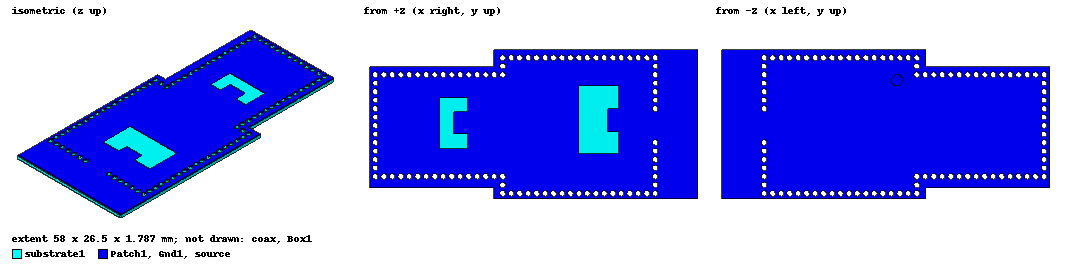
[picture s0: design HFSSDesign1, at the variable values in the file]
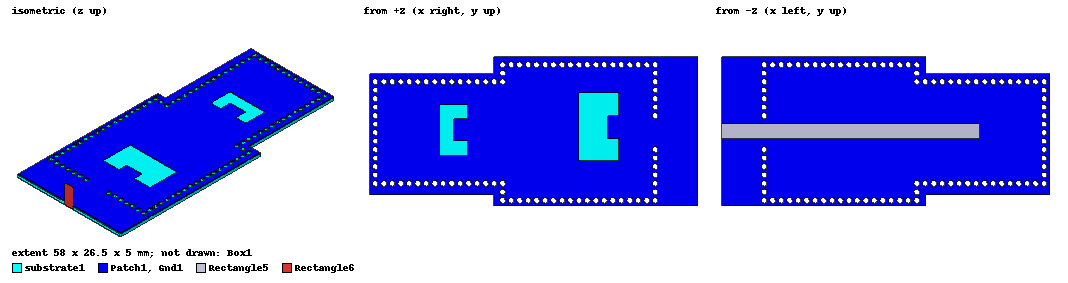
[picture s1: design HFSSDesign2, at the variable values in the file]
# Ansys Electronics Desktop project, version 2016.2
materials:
  vacuum: permittivity=1
  Rogers RT/duroid 5880 (tm): permittivity=2.2 dielectric_loss_tangent=0.0009
  pec: conductivity=1e+030

design HFSSDesign1 (HFSS, DrivenTerminal, model units mm)
options: Allow_Material_Override
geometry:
  substrate1 [Rogers RT/duroid 5880 (tm)] = box(corner=(0mm, 2mm, 0mm), size=(22mm, 21.5mm, 0.787mm))
  Patch1 [Rogers RT/duroid 5880 (tm)] = rectangle(corner=(0mm, 2mm, 0.787mm), x_size=22mm, y_size=21.5mm)
  Gnd1 [Rogers RT/duroid 5880 (tm)] = rectangle(corner=(0mm, 2mm, 0mm), x_size=22mm, y_size=21.5mm)
  substrate2 = box(corner=(22mm, 0mm, 0mm), size=(36mm, 26.5mm, 0.787mm))
  Gnd2 = rectangle(corner=(22mm, 0mm, 0mm), x_size=36mm, y_size=26.5mm)
  substrate1.unite(substrate2)
  Gnd1.unite(Gnd2)
  Patch2 = rectangle(corner=(22mm, 0mm, 0.787mm), x_size=36mm, y_size=26.5mm)
  Patch1.unite(Patch2)
  via1 = cylinder(axis=Z, base_centre=(23.5mm, 1mm, 0mm), radius=0.5mm, height=0.787mm)
  via2 = cylinder(axis=Z, base_centre=(23.5mm, 2.5mm, 0mm), radius=0.5mm, height=0.787mm)
  via3 = cylinder(axis=Z, base_centre=(23.5mm, 4mm, 0mm), radius=0.5mm, height=0.787mm)
  via4 = cylinder(axis=Z, base_centre=(22mm, 4mm, 0mm), radius=0.5mm, height=0.787mm)
  via5 = cylinder(axis=Z, base_centre=(20.5mm, 4mm, 0mm), radius=0.5mm, height=0.787mm)
  via6 = cylinder(axis=Z, base_centre=(19mm, 4mm, 0mm), radius=0.5mm, height=0.787mm)
  via7 = cylinder(axis=Z, base_centre=(17.5mm, 4mm, 0mm), radius=0.5mm, height=0.787mm)
  via8 = cylinder(axis=Z, base_centre=(16mm, 4mm, 0mm), radius=0.5mm, height=0.787mm)
  via9 = cylinder(axis=Z, base_centre=(14.5mm, 4mm, 0mm), radius=0.5mm, height=0.787mm)
  via10 = cylinder(axis=Z, base_centre=(13mm, 4mm, 0mm), radius=0.5mm, height=0.787mm)
  via11 = cylinder(axis=Z, base_centre=(11.5mm, 4mm, 0mm), radius=0.5mm, height=0.787mm)
  via12 = cylinder(axis=Z, base_centre=(10mm, 4mm, 0mm), radius=0.5mm, height=0.787mm)
  via13 = cylinder(axis=Z, base_centre=(8.5mm, 4mm, 0mm), radius=0.5mm, height=0.787mm)
  via14 = cylinder(axis=Z, base_centre=(7mm, 4mm, 0mm), radius=0.5mm, height=0.787mm)
  via15 = cylinder(axis=Z, base_centre=(5.5mm, 4mm, 0mm), radius=0.5mm, height=0.787mm)
  via16 = cylinder(axis=Z, base_centre=(4mm, 4mm, 0mm), radius=0.5mm, height=0.787mm)
  via17 = cylinder(axis=Z, base_centre=(2.5mm, 4mm, 0mm), radius=0.5mm, height=0.787mm)
  via18 = cylinder(axis=Z, base_centre=(1mm, 4mm, 0mm), radius=0.5mm, height=0.787mm)
  via19 = cylinder(axis=Z, base_centre=(1mm, 5.5mm, 0mm), radius=0.5mm, height=0.787mm)
  via20 = cylinder(axis=Z, base_centre=(1mm, 7mm, 0mm), radius=0.5mm, height=0.787mm)
  via21 = cylinder(axis=Z, base_centre=(1mm, 8.5mm, 0mm), radius=0.5mm, height=0.787mm)
  via22 = cylinder(axis=Z, base_centre=(1mm, 10mm, 0mm), radius=0.5mm, height=0.787mm)
  via23 = cylinder(axis=Z, base_centre=(1mm, 11.5mm, 0mm), radius=0.5mm, height=0.787mm)
  via24 = cylinder(axis=Z, base_centre=(1mm, 13mm, 0mm), radius=0.5mm, height=0.787mm)
  via25 = cylinder(axis=Z, base_centre=(1mm, 14.5mm, 0mm), radius=0.5mm, height=0.787mm)
  via26 = cylinder(axis=Z, base_centre=(1mm, 16mm, 0mm), radius=0.5mm, height=0.787mm)
  via27 = cylinder(axis=Z, base_centre=(1mm, 17.5mm, 0mm), radius=0.5mm, height=0.787mm)
  via28 = cylinder(axis=Z, base_centre=(1mm, 19mm, 0mm), radius=0.5mm, height=0.787mm)
  via29 = cylinder(axis=Z, base_centre=(1mm, 20.5mm, 0mm), radius=0.5mm, height=0.787mm)
  via30 = cylinder(axis=Z, base_centre=(1mm, 22mm, 0mm), radius=0.5mm, height=0.787mm)
  via31 = cylinder(axis=Z, base_centre=(2.5mm, 22mm, 0mm), radius=0.5mm, height=0.787mm)
  via32 = cylinder(axis=Z, base_centre=(4mm, 22mm, 0mm), radius=0.5mm, height=0.787mm)
  via33 = cylinder(axis=Z, base_centre=(5.5mm, 22mm, 0mm), radius=0.5mm, height=0.787mm)
  via34 = cylinder(axis=Z, base_centre=(7mm, 22mm, 0mm), radius=0.5mm, height=0.787mm)
  via35 = cylinder(axis=Z, base_centre=(8.5mm, 22mm, 0mm), radius=0.5mm, height=0.787mm)
  via36 = cylinder(axis=Z, base_centre=(10mm, 22mm, 0mm), radius=0.5mm, height=0.787mm)
  via37 = cylinder(axis=Z, base_centre=(11.5mm, 22mm, 0mm), radius=0.5mm, height=0.787mm)
  via38 = cylinder(axis=Z, base_centre=(13mm, 22mm, 0mm), radius=0.5mm, height=0.787mm)
  via39 = cylinder(axis=Z, base_centre=(14.5mm, 22mm, 0mm), radius=0.5mm, height=0.787mm)
  via40 = cylinder(axis=Z, base_centre=(16mm, 22mm, 0mm), radius=0.5mm, height=0.787mm)
  via41 = cylinder(axis=Z, base_centre=(17.5mm, 22mm, 0mm), radius=0.5mm, height=0.787mm)
  via42 = cylinder(axis=Z, base_centre=(19mm, 22mm, 0mm), radius=0.5mm, height=0.787mm)
  via43 = cylinder(axis=Z, base_centre=(20.5mm, 22mm, 0mm), radius=0.5mm, height=0.787mm)
  via44 = cylinder(axis=Z, base_centre=(22mm, 22mm, 0mm), radius=0.5mm, height=0.787mm)
  via45 = cylinder(axis=Z, base_centre=(23.5mm, 22mm, 0mm), radius=0.5mm, height=0.787mm)
  via46 = cylinder(axis=Z, base_centre=(23.5mm, 23.5mm, 0mm), radius=0.5mm, height=0.787mm)
  via47 = cylinder(axis=Z, base_centre=(23.5mm, 25mm, 0mm), radius=0.5mm, height=0.787mm)
  via48 = cylinder(axis=Z, base_centre=(25mm, 25mm, 0mm), radius=0.5mm, height=0.787mm)
  via49 = cylinder(axis=Z, base_centre=(26.5mm, 25mm, 0mm), radius=0.5mm, height=0.787mm)
  via50 = cylinder(axis=Z, base_centre=(28mm, 25mm, 0mm), radius=0.5mm, height=0.787mm)
  via51 = cylinder(axis=Z, base_centre=(29.5mm, 25mm, 0mm), radius=0.5mm, height=0.787mm)
  via52 = cylinder(axis=Z, base_centre=(31mm, 25mm, 0mm), radius=0.5mm, height=0.787mm)
  via53 = cylinder(axis=Z, base_centre=(32.5mm, 25mm, 0mm), radius=0.5mm, height=0.787mm)
  via54 = cylinder(axis=Z, base_centre=(34mm, 25mm, 0mm), radius=0.5mm, height=0.787mm)
  via55 = cylinder(axis=Z, base_centre=(35.5mm, 25mm, 0mm), radius=0.5mm, height=0.787mm)
  via56 = cylinder(axis=Z, base_centre=(37mm, 25mm, 0mm), radius=0.5mm, height=0.787mm)
  via57 = cylinder(axis=Z, base_centre=(38.5mm, 25mm, 0mm), radius=0.5mm, height=0.787mm)
  via58 = cylinder(axis=Z, base_centre=(40mm, 25mm, 0mm), radius=0.5mm, height=0.787mm)
  via59 = cylinder(axis=Z, base_centre=(41.5mm, 25mm, 0mm), radius=0.5mm, height=0.787mm)
  via60 = cylinder(axis=Z, base_centre=(43mm, 25mm, 0mm), radius=0.5mm, height=0.787mm)
  via61 = cylinder(axis=Z, base_centre=(44.5mm, 25mm, 0mm), radius=0.5mm, height=0.787mm)
  via62 = cylinder(axis=Z, base_centre=(46mm, 25mm, 0mm), radius=0.5mm, height=0.787mm)
  via63 = cylinder(axis=Z, base_centre=(47.5mm, 25mm, 0mm), radius=0.5mm, height=0.787mm)
  via64 = cylinder(axis=Z, base_centre=(49mm, 25mm, 0mm), radius=0.5mm, height=0.787mm)
  via65 = cylinder(axis=Z, base_centre=(50.5mm, 25mm, 0mm), radius=0.5mm, height=0.787mm)
  via67 = cylinder(axis=Z, base_centre=(25mm, 1mm, 0mm), radius=0.5mm, height=0.787mm)
  via68 = cylinder(axis=Z, base_centre=(26.5mm, 1mm, 0mm), radius=0.5mm, height=0.787mm)
  via69 = cylinder(axis=Z, base_centre=(28mm, 1mm, 0mm), radius=0.5mm, height=0.787mm)
  via70 = cylinder(axis=Z, base_centre=(29.5mm, 1mm, 0mm), radius=0.5mm, height=0.787mm)
  via71 = cylinder(axis=Z, base_centre=(31mm, 1mm, 0mm), radius=0.5mm, height=0.787mm)
  via72 = cylinder(axis=Z, base_centre=(32.5mm, 1mm, 0mm), radius=0.5mm, height=0.787mm)
  via73 = cylinder(axis=Z, base_centre=(34mm, 1mm, 0mm), radius=0.5mm, height=0.787mm)
  via74 = cylinder(axis=Z, base_centre=(35.5mm, 1mm, 0mm), radius=0.5mm, height=0.787mm)
  via75 = cylinder(axis=Z, base_centre=(37mm, 1mm, 0mm), radius=0.5mm, height=0.787mm)
  via76 = cylinder(axis=Z, base_centre=(38.5mm, 1mm, 0mm), radius=0.5mm, height=0.787mm)
  via77 = cylinder(axis=Z, base_centre=(40mm, 1mm, 0mm), radius=0.5mm, height=0.787mm)
  via78 = cylinder(axis=Z, base_centre=(41.5mm, 1mm, 0mm), radius=0.5mm, height=0.787mm)
  via79 = cylinder(axis=Z, base_centre=(43mm, 1mm, 0mm), radius=0.5mm, height=0.787mm)
  via80 = cylinder(axis=Z, base_centre=(44.5mm, 1mm, 0mm), radius=0.5mm, height=0.787mm)
  via81 = cylinder(axis=Z, base_centre=(46mm, 1mm, 0mm), radius=0.5mm, height=0.787mm)
  via82 = cylinder(axis=Z, base_centre=(47.5mm, 1mm, 0mm), radius=0.5mm, height=0.787mm)
  via83 = cylinder(axis=Z, base_centre=(49mm, 1mm, 0mm), radius=0.5mm, height=0.787mm)
  via84 = cylinder(axis=Z, base_centre=(50.5mm, 1mm, 0mm), radius=0.5mm, height=0.787mm)
  via85 = cylinder(axis=Z, base_centre=(50.5mm, 2.5mm, 0mm), radius=0.5mm, height=0.787mm)
  via86 = cylinder(axis=Z, base_centre=(50.5mm, 4mm, 0mm), radius=0.5mm, height=0.787mm)
  via87 = cylinder(axis=Z, base_centre=(50.5mm, 5.5mm, 0mm), radius=0.5mm, height=0.787mm)
  via88 = cylinder(axis=Z, base_centre=(50.5mm, 7mm, 0mm), radius=0.5mm, height=0.787mm)
  via89 = cylinder(axis=Z, base_centre=(50.5mm, 8.5mm, 0mm), radius=0.5mm, height=0.787mm)
  via90 = cylinder(axis=Z, base_centre=(50.5mm, 10mm, 0mm), radius=0.5mm, height=0.787mm)
  via91 = cylinder(axis=Z, base_centre=(50.5mm, 23.5mm, 0mm), radius=0.5mm, height=0.787mm)
  via92 = cylinder(axis=Z, base_centre=(50.5mm, 22mm, 0mm), radius=0.5mm, height=0.787mm)
  via93 = cylinder(axis=Z, base_centre=(50.5mm, 20.5mm, 0mm), radius=0.5mm, height=0.787mm)
  via94 = cylinder(axis=Z, base_centre=(50.5mm, 19mm, 0mm), radius=0.5mm, height=0.787mm)
  via95 = cylinder(axis=Z, base_centre=(50.5mm, 17.5mm, 0mm), radius=0.5mm, height=0.787mm)
  via96 = cylinder(axis=Z, base_centre=(50.5mm, 16mm, 0mm), radius=0.5mm, height=0.787mm)
  Rectangle1 = rectangle(corner=(12.3mm, 9mm, 0.787mm), x_size=5mm, y_size=9mm)
  Rectangle2 = rectangle(corner=(14.8mm, 11.5mm, 0.787mm), x_size=2.5mm, y_size=4mm)
  Rectangle1.subtract(Rectangle2)
  Patch1.subtract(Rectangle1)
  Rectangle3 = rectangle(corner=(37mm, 8mm, 0.787mm), x_size=7mm, y_size=12mm)
  Rectangle4 = rectangle(corner=(42mm, 12mm, 0.787mm), x_size=2mm, y_size=4mm)
  Rectangle3.subtract(Rectangle4)
  Patch1.subtract(Rectangle3)
  via1_1 = via1.copy()
  via10_1 = via10.copy()
  via11_1 = via11.copy()
  via12_1 = via12.copy()
  via13_1 = via13.copy()
  via14_1 = via14.copy()
  via15_1 = via15.copy()
  via16_1 = via16.copy()
  via17_1 = via17.copy()
  via18_1 = via18.copy()
  via19_1 = via19.copy()
  via2_1 = via2.copy()
  via20_1 = via20.copy()
  via21_1 = via21.copy()
  via22_1 = via22.copy()
  via23_1 = via23.copy()
  via24_1 = via24.copy()
  via25_1 = via25.copy()
  via26_1 = via26.copy()
  via27_1 = via27.copy()
  via28_1 = via28.copy()
  via29_1 = via29.copy()
  via3_1 = via3.copy()
  via30_1 = via30.copy()
  via31_1 = via31.copy()
  via32_1 = via32.copy()
  via33_1 = via33.copy()
  via34_1 = via34.copy()
  via35_1 = via35.copy()
  via36_1 = via36.copy()
  via37_1 = via37.copy()
  via38_1 = via38.copy()
  via39_1 = via39.copy()
  via4_1 = via4.copy()
  via40_1 = via40.copy()
  via41_1 = via41.copy()
  via42_1 = via42.copy()
  via43_1 = via43.copy()
  via44_1 = via44.copy()
  via45_1 = via45.copy()
  via46_1 = via46.copy()
  via47_1 = via47.copy()
  via48_1 = via48.copy()
  via49_1 = via49.copy()
  via5_1 = via5.copy()
  via50_1 = via50.copy()
  via51_1 = via51.copy()
  via52_1 = via52.copy()
  via53_1 = via53.copy()
  via54_1 = via54.copy()
  via55_1 = via55.copy()
  via56_1 = via56.copy()
  via57_1 = via57.copy()
  via58_1 = via58.copy()
  via59_1 = via59.copy()
  via6_1 = via6.copy()
  via60_1 = via60.copy()
  via61_1 = via61.copy()
  via62_1 = via62.copy()
  via63_1 = via63.copy()
  via64_1 = via64.copy()
  via65_1 = via65.copy()
  via67_1 = via67.copy()
  via68_1 = via68.copy()
  via69_1 = via69.copy()
  via7_1 = via7.copy()
  via70_1 = via70.copy()
  via71_1 = via71.copy()
  via72_1 = via72.copy()
  via73_1 = via73.copy()
  via74_1 = via74.copy()
  via75_1 = via75.copy()
  via76_1 = via76.copy()
  via77_1 = via77.copy()
  via78_1 = via78.copy()
  via79_1 = via79.copy()
  via8_1 = via8.copy()
  via80_1 = via80.copy()
  via81_1 = via81.copy()
  via82_1 = via82.copy()
  via83_1 = via83.copy()
  via84_1 = via84.copy()
  via85_1 = via85.copy()
  via86_1 = via86.copy()
  via87_1 = via87.copy()
  via88_1 = via88.copy()
  via89_1 = via89.copy()
  via9_1 = via9.copy()
  via90_1 = via90.copy()
  via91_1 = via91.copy()
  via92_1 = via92.copy()
  via93_1 = via93.copy()
  via94_1 = via94.copy()
  via95_1 = via95.copy()
  via96_1 = via96.copy()
  Gnd1.subtract(via1_1, via10_1, via11_1, via12_1, via13_1, via14_1, via15_1, via16_1, via17_1, via18_1, via19_1, via2_1, via20_1, via21_1, via22_1, via23_1, via24_1, via25_1, via26_1, via27_1, via28_1, via29_1, via3_1, via30_1, via31_1, via32_1, via33_1, via34_1, via35_1, via36_1, via37_1, via38_1, via39_1, via4_1, via40_1, via41_1, via42_1, via43_1, via44_1, via45_1, via46_1, via47_1, via48_1, via49_1, via5_1, via50_1, via51_1, via52_1, via53_1, via54_1, via55_1, via56_1, via57_1, via58_1, via59_1, via6_1, via60_1, via61_1, via62_1, via63_1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)
  via1_2 = via1.copy()
  via10_2 = via10.copy()
  via11_2 = via11.copy()
  via12_2 = via12.copy()
  via13_2 = via13.copy()
  via14_2 = via14.copy()
  via15_2 = via15.copy()
  via16_2 = via16.copy()
  via17_2 = via17.copy()
  via18_2 = via18.copy()
  via19_2 = via19.copy()
  via2_2 = via2.copy()
  via20_2 = via20.copy()
  via21_2 = via21.copy()
  via22_2 = via22.copy()
  via23_2 = via23.copy()
  via24_2 = via24.copy()
  via25_2 = via25.copy()
  via26_2 = via26.copy()
  via27_2 = via27.copy()
  via28_2 = via28.copy()
  via29_2 = via29.copy()
  via3_2 = via3.copy()
  via30_2 = via30.copy()
  via31_2 = via31.copy()
  via32_2 = via32.copy()
  via33_2 = via33.copy()
  via34_2 = via34.copy()
  via35_2 = via35.copy()
  via36_2 = via36.copy()
  via37_2 = via37.copy()
  via38_2 = via38.copy()
  via39_2 = via39.copy()
  via4_2 = via4.copy()
  via40_2 = via40.copy()
  via41_2 = via41.copy()
  via42_2 = via42.copy()
  via43_2 = via43.copy()
  via44_2 = via44.copy()
  via45_2 = via45.copy()
  via46_2 = via46.copy()
  via47_2 = via47.copy()
  via48_2 = via48.copy()
  via49_2 = via49.copy()
  via5_2 = via5.copy()
  via50_2 = via50.copy()
  via51_2 = via51.copy()
  via52_2 = via52.copy()
  via53_2 = via53.copy()
  via54_2 = via54.copy()
  via55_2 = via55.copy()
  via56_2 = via56.copy()
  via57_2 = via57.copy()
  via58_2 = via58.copy()
  via59_2 = via59.copy()
  via6_2 = via6.copy()
  via60_2 = via60.copy()
  via61_2 = via61.copy()
  via62_2 = via62.copy()
  via63_2 = via63.copy()
  via64_2 = via64.copy()
  via65_2 = via65.copy()
  via67_2 = via67.copy()
  via68_2 = via68.copy()
  via69_2 = via69.copy()
  via7_2 = via7.copy()
  via70_2 = via70.copy()
  via71_2 = via71.copy()
  via72_2 = via72.copy()
  via73_2 = via73.copy()
  via74_2 = via74.copy()
  via75_2 = via75.copy()
  via76_2 = via76.copy()
  via77_2 = via77.copy()
  via78_2 = via78.copy()
  via79_2 = via79.copy()
  via8_2 = via8.copy()
  via80_2 = via80.copy()
  via81_2 = via81.copy()
  via82_2 = via82.copy()
  via83_2 = via83.copy()
  via84_2 = via84.copy()
  via85_2 = via85.copy()
  via86_2 = via86.copy()
  via87_2 = via87.copy()
  via88_2 = via88.copy()
  via89_2 = via89.copy()
  via9_2 = via9.copy()
  via90_2 = via90.copy()
  via91_2 = via91.copy()
  via92_2 = via92.copy()
  via93_2 = via93.copy()
  via94_2 = via94.copy()
  via95_2 = via95.copy()
  via96_2 = via96.copy()
  Patch1.subtract(via1_2, via10_2, via11_2, via12_2, via13_2, via14_2, via15_2, via16_2, via17_2, via18_2, via19_2, via2_2, via20_2, via21_2, via22_2, via23_2, via24_2, via25_2, via26_2, via27_2, via28_2, via29_2, via3_2, via30_2, via31_2, via32_2, via33_2, via34_2, via35_2, via36_2, via37_2, via38_2, via39_2, via4_2, via40_2, via41_2, via42_2, via43_2, via44_2, via45_2, via46_2, via47_2, via48_2, via49_2, via5_2, via50_2, via51_2, via52_2, via53_2, via54_2, via55_2, via56_2, via57_2, via58_2, via59_2, via6_2, via60_2, via61_2, via62_2, via63_2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)
  substrate1.subtract(via1, via10..via19, via2, via20..via29, via3, via30..via39, via4, via40..via49, via5, via50..via59, via6, via60..via65, via67, via68, via69, via7, via70..via79, via8, via80..via89, via9, via90..via96)
  Probe [pec] = cylinder(axis=Z, base_centre=(27mm, 21mm, 0mm), radius=0.5mm, height=0.787mm)
  Pin [pec] = cylinder(axis=Z, base_centre=(27mm, 21mm, 0mm), radius=0.5mm, height=-1mm)
  coax [vacuum] = cylinder(axis=Z, base_centre=(27mm, 21mm, 0mm), radius=1mm, height=-1mm)
  source = circle(normal=Z, centre=(27mm, 21mm, -1mm), radius=1mm)
  Box1 [vacuum] = box(corner=(0mm, 0mm, 0.787mm), size=(58mm, 26.5mm, 5mm))
  Gnd_cut = circle(normal=Z, centre=(27mm, 21mm, 0mm), radius=1mm)
  Gnd1.subtract(Gnd_cut)
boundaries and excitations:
  Ground: Perfect E Objects=Gnd1
  Patch: Perfect E Objects=Patch1
  Rad1: Radiation Faces=Box1.face(-y, +z, +x, -x, +y)
  source_T1: Terminal port=1 Faces=Pin.face(2 of 3) TerminalResistance=50ohm
  1: Wave Port Faces=source.face NumModes=1
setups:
  Setup1: HfssDriven Frequency=10GHz MaxDeltaS=0.02 MaximumPasses=6 MinimumPasses=1 MinimumConvergedPasses=1 PercentRefinement=30 BasisOrder=1 PortAccuracy=2
    sweep Sweep: 1GHz to 10GHz step 0.01GHz; Type=Interpolating InterpTolerance=0.5 InterpMaxSolns=250 PassivityErrorTolerance=0.0001
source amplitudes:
  1:1: 1V 0deg
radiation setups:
  Infinite Sphere1: Infinite Sphere Theta=-180deg..180deg step 10deg Phi=0deg..90deg step 10deg
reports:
  XY Plot 1: dB(St(source_T1,source_T1)) vs Freq on Setup1 : Sweep
  XY Plot 2: dB(St(source_T1,source_T1)) vs Freq on Setup1 : Sweep
  XY Plot 3: dB(St(source_T1,source_T1)) vs Freq on Setup1 : Sweep
  XY Plot 4: dB(St(source_T1,source_T1)) vs Freq on Setup1 : Sweep
  XY Plot 5: dB(St(source_T1,source_T1)) vs Freq on Setup1 : Sweep

design HFSSDesign2 (HFSS, DrivenModal, model units mm)
options: Allow_Material_Override
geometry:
  substrate1 [Rogers RT/duroid 5880 (tm)] = box(corner=(0mm, 2mm, 0mm), size=(22mm, 21.5mm, 0.787mm))
  Patch1 [Rogers RT/duroid 5880 (tm)] = rectangle(corner=(0mm, 2mm, 0.787mm), x_size=22mm, y_size=21.5mm)
  Gnd1 [Rogers RT/duroid 5880 (tm)] = rectangle(corner=(0mm, 2mm, 0mm), x_size=22mm, y_size=21.5mm)
  substrate2 = box(corner=(22mm, 0mm, 0mm), size=(36mm, 26.5mm, 0.787mm))
  Gnd2 = rectangle(corner=(22mm, 0mm, 0mm), x_size=36mm, y_size=26.5mm)
  substrate1.unite(substrate2)
  Gnd1.unite(Gnd2)
  Patch2 = rectangle(corner=(22mm, 0mm, 0.787mm), x_size=36mm, y_size=26.5mm)
  Patch1.unite(Patch2)
  via1 = cylinder(axis=Z, base_centre=(23.5mm, 1mm, 0mm), radius=0.5mm, height=0.787mm)
  via2 = cylinder(axis=Z, base_centre=(23.5mm, 2.5mm, 0mm), radius=0.5mm, height=0.787mm)
  via3 = cylinder(axis=Z, base_centre=(23.5mm, 4mm, 0mm), radius=0.5mm, height=0.787mm)
  via4 = cylinder(axis=Z, base_centre=(22mm, 4mm, 0mm), radius=0.5mm, height=0.787mm)
  via5 = cylinder(axis=Z, base_centre=(20.5mm, 4mm, 0mm), radius=0.5mm, height=0.787mm)
  via6 = cylinder(axis=Z, base_centre=(19mm, 4mm, 0mm), radius=0.5mm, height=0.787mm)
  via7 = cylinder(axis=Z, base_centre=(17.5mm, 4mm, 0mm), radius=0.5mm, height=0.787mm)
  via8 = cylinder(axis=Z, base_centre=(16mm, 4mm, 0mm), radius=0.5mm, height=0.787mm)
  via9 = cylinder(axis=Z, base_centre=(14.5mm, 4mm, 0mm), radius=0.5mm, height=0.787mm)
  via10 = cylinder(axis=Z, base_centre=(13mm, 4mm, 0mm), radius=0.5mm, height=0.787mm)
  via11 = cylinder(axis=Z, base_centre=(11.5mm, 4mm, 0mm), radius=0.5mm, height=0.787mm)
  via12 = cylinder(axis=Z, base_centre=(10mm, 4mm, 0mm), radius=0.5mm, height=0.787mm)
  via13 = cylinder(axis=Z, base_centre=(8.5mm, 4mm, 0mm), radius=0.5mm, height=0.787mm)
  via14 = cylinder(axis=Z, base_centre=(7mm, 4mm, 0mm), radius=0.5mm, height=0.787mm)
  via15 = cylinder(axis=Z, base_centre=(5.5mm, 4mm, 0mm), radius=0.5mm, height=0.787mm)
  via16 = cylinder(axis=Z, base_centre=(4mm, 4mm, 0mm), radius=0.5mm, height=0.787mm)
  via17 = cylinder(axis=Z, base_centre=(2.5mm, 4mm, 0mm), radius=0.5mm, height=0.787mm)
  via18 = cylinder(axis=Z, base_centre=(1mm, 4mm, 0mm), radius=0.5mm, height=0.787mm)
  via19 = cylinder(axis=Z, base_centre=(1mm, 5.5mm, 0mm), radius=0.5mm, height=0.787mm)
  via20 = cylinder(axis=Z, base_centre=(1mm, 7mm, 0mm), radius=0.5mm, height=0.787mm)
  via21 = cylinder(axis=Z, base_centre=(1mm, 8.5mm, 0mm), radius=0.5mm, height=0.787mm)
  via22 = cylinder(axis=Z, base_centre=(1mm, 10mm, 0mm), radius=0.5mm, height=0.787mm)
  via23 = cylinder(axis=Z, base_centre=(1mm, 11.5mm, 0mm), radius=0.5mm, height=0.787mm)
  via24 = cylinder(axis=Z, base_centre=(1mm, 13mm, 0mm), radius=0.5mm, height=0.787mm)
  via25 = cylinder(axis=Z, base_centre=(1mm, 14.5mm, 0mm), radius=0.5mm, height=0.787mm)
  via26 = cylinder(axis=Z, base_centre=(1mm, 16mm, 0mm), radius=0.5mm, height=0.787mm)
  via27 = cylinder(axis=Z, base_centre=(1mm, 17.5mm, 0mm), radius=0.5mm, height=0.787mm)
  via28 = cylinder(axis=Z, base_centre=(1mm, 19mm, 0mm), radius=0.5mm, height=0.787mm)
  via29 = cylinder(axis=Z, base_centre=(1mm, 20.5mm, 0mm), radius=0.5mm, height=0.787mm)
  via30 = cylinder(axis=Z, base_centre=(1mm, 22mm, 0mm), radius=0.5mm, height=0.787mm)
  via31 = cylinder(axis=Z, base_centre=(2.5mm, 22mm, 0mm), radius=0.5mm, height=0.787mm)
  via32 = cylinder(axis=Z, base_centre=(4mm, 22mm, 0mm), radius=0.5mm, height=0.787mm)
  via33 = cylinder(axis=Z, base_centre=(5.5mm, 22mm, 0mm), radius=0.5mm, height=0.787mm)
  via34 = cylinder(axis=Z, base_centre=(7mm, 22mm, 0mm), radius=0.5mm, height=0.787mm)
  via35 = cylinder(axis=Z, base_centre=(8.5mm, 22mm, 0mm), radius=0.5mm, height=0.787mm)
  via36 = cylinder(axis=Z, base_centre=(10mm, 22mm, 0mm), radius=0.5mm, height=0.787mm)
  via37 = cylinder(axis=Z, base_centre=(11.5mm, 22mm, 0mm), radius=0.5mm, height=0.787mm)
  via38 = cylinder(axis=Z, base_centre=(13mm, 22mm, 0mm), radius=0.5mm, height=0.787mm)
  via39 = cylinder(axis=Z, base_centre=(14.5mm, 22mm, 0mm), radius=0.5mm, height=0.787mm)
  via40 = cylinder(axis=Z, base_centre=(16mm, 22mm, 0mm), radius=0.5mm, height=0.787mm)
  via41 = cylinder(axis=Z, base_centre=(17.5mm, 22mm, 0mm), radius=0.5mm, height=0.787mm)
  via42 = cylinder(axis=Z, base_centre=(19mm, 22mm, 0mm), radius=0.5mm, height=0.787mm)
  via43 = cylinder(axis=Z, base_centre=(20.5mm, 22mm, 0mm), radius=0.5mm, height=0.787mm)
  via44 = cylinder(axis=Z, base_centre=(22mm, 22mm, 0mm), radius=0.5mm, height=0.787mm)
  via45 = cylinder(axis=Z, base_centre=(23.5mm, 22mm, 0mm), radius=0.5mm, height=0.787mm)
  via46 = cylinder(axis=Z, base_centre=(23.5mm, 23.5mm, 0mm), radius=0.5mm, height=0.787mm)
  via47 = cylinder(axis=Z, base_centre=(23.5mm, 25mm, 0mm), radius=0.5mm, height=0.787mm)
  via48 = cylinder(axis=Z, base_centre=(25mm, 25mm, 0mm), radius=0.5mm, height=0.787mm)
  via49 = cylinder(axis=Z, base_centre=(26.5mm, 25mm, 0mm), radius=0.5mm, height=0.787mm)
  via50 = cylinder(axis=Z, base_centre=(28mm, 25mm, 0mm), radius=0.5mm, height=0.787mm)
  via51 = cylinder(axis=Z, base_centre=(29.5mm, 25mm, 0mm), radius=0.5mm, height=0.787mm)
  via52 = cylinder(axis=Z, base_centre=(31mm, 25mm, 0mm), radius=0.5mm, height=0.787mm)
  via53 = cylinder(axis=Z, base_centre=(32.5mm, 25mm, 0mm), radius=0.5mm, height=0.787mm)
  via54 = cylinder(axis=Z, base_centre=(34mm, 25mm, 0mm), radius=0.5mm, height=0.787mm)
  via55 = cylinder(axis=Z, base_centre=(35.5mm, 25mm, 0mm), radius=0.5mm, height=0.787mm)
  via56 = cylinder(axis=Z, base_centre=(37mm, 25mm, 0mm), radius=0.5mm, height=0.787mm)
  via57 = cylinder(axis=Z, base_centre=(38.5mm, 25mm, 0mm), radius=0.5mm, height=0.787mm)
  via58 = cylinder(axis=Z, base_centre=(40mm, 25mm, 0mm), radius=0.5mm, height=0.787mm)
  via59 = cylinder(axis=Z, base_centre=(41.5mm, 25mm, 0mm), radius=0.5mm, height=0.787mm)
  via60 = cylinder(axis=Z, base_centre=(43mm, 25mm, 0mm), radius=0.5mm, height=0.787mm)
  via61 = cylinder(axis=Z, base_centre=(44.5mm, 25mm, 0mm), radius=0.5mm, height=0.787mm)
  via62 = cylinder(axis=Z, base_centre=(46mm, 25mm, 0mm), radius=0.5mm, height=0.787mm)
  via63 = cylinder(axis=Z, base_centre=(47.5mm, 25mm, 0mm), radius=0.5mm, height=0.787mm)
  via64 = cylinder(axis=Z, base_centre=(49mm, 25mm, 0mm), radius=0.5mm, height=0.787mm)
  via65 = cylinder(axis=Z, base_centre=(50.5mm, 25mm, 0mm), radius=0.5mm, height=0.787mm)
  via67 = cylinder(axis=Z, base_centre=(25mm, 1mm, 0mm), radius=0.5mm, height=0.787mm)
  via68 = cylinder(axis=Z, base_centre=(26.5mm, 1mm, 0mm), radius=0.5mm, height=0.787mm)
  via69 = cylinder(axis=Z, base_centre=(28mm, 1mm, 0mm), radius=0.5mm, height=0.787mm)
  via70 = cylinder(axis=Z, base_centre=(29.5mm, 1mm, 0mm), radius=0.5mm, height=0.787mm)
  via71 = cylinder(axis=Z, base_centre=(31mm, 1mm, 0mm), radius=0.5mm, height=0.787mm)
  via72 = cylinder(axis=Z, base_centre=(32.5mm, 1mm, 0mm), radius=0.5mm, height=0.787mm)
  via73 = cylinder(axis=Z, base_centre=(34mm, 1mm, 0mm), radius=0.5mm, height=0.787mm)
  via74 = cylinder(axis=Z, base_centre=(35.5mm, 1mm, 0mm), radius=0.5mm, height=0.787mm)
  via75 = cylinder(axis=Z, base_centre=(37mm, 1mm, 0mm), radius=0.5mm, height=0.787mm)
  via76 = cylinder(axis=Z, base_centre=(38.5mm, 1mm, 0mm), radius=0.5mm, height=0.787mm)
  via77 = cylinder(axis=Z, base_centre=(40mm, 1mm, 0mm), radius=0.5mm, height=0.787mm)
  via78 = cylinder(axis=Z, base_centre=(41.5mm, 1mm, 0mm), radius=0.5mm, height=0.787mm)
  via79 = cylinder(axis=Z, base_centre=(43mm, 1mm, 0mm), radius=0.5mm, height=0.787mm)
  via80 = cylinder(axis=Z, base_centre=(44.5mm, 1mm, 0mm), radius=0.5mm, height=0.787mm)
  via81 = cylinder(axis=Z, base_centre=(46mm, 1mm, 0mm), radius=0.5mm, height=0.787mm)
  via82 = cylinder(axis=Z, base_centre=(47.5mm, 1mm, 0mm), radius=0.5mm, height=0.787mm)
  via83 = cylinder(axis=Z, base_centre=(49mm, 1mm, 0mm), radius=0.5mm, height=0.787mm)
  via84 = cylinder(axis=Z, base_centre=(50.5mm, 1mm, 0mm), radius=0.5mm, height=0.787mm)
  via85 = cylinder(axis=Z, base_centre=(50.5mm, 2.5mm, 0mm), radius=0.5mm, height=0.787mm)
  via86 = cylinder(axis=Z, base_centre=(50.5mm, 4mm, 0mm), radius=0.5mm, height=0.787mm)
  via87 = cylinder(axis=Z, base_centre=(50.5mm, 5.5mm, 0mm), radius=0.5mm, height=0.787mm)
  via88 = cylinder(axis=Z, base_centre=(50.5mm, 7mm, 0mm), radius=0.5mm, height=0.787mm)
  via89 = cylinder(axis=Z, base_centre=(50.5mm, 8.5mm, 0mm), radius=0.5mm, height=0.787mm)
  via90 = cylinder(axis=Z, base_centre=(50.5mm, 10mm, 0mm), radius=0.5mm, height=0.787mm)
  via91 = cylinder(axis=Z, base_centre=(50.5mm, 23.5mm, 0mm), radius=0.5mm, height=0.787mm)
  via92 = cylinder(axis=Z, base_centre=(50.5mm, 22mm, 0mm), radius=0.5mm, height=0.787mm)
  via93 = cylinder(axis=Z, base_centre=(50.5mm, 20.5mm, 0mm), radius=0.5mm, height=0.787mm)
  via94 = cylinder(axis=Z, base_centre=(50.5mm, 19mm, 0mm), radius=0.5mm, height=0.787mm)
  via95 = cylinder(axis=Z, base_centre=(50.5mm, 17.5mm, 0mm), radius=0.5mm, height=0.787mm)
  via96 = cylinder(axis=Z, base_centre=(50.5mm, 16mm, 0mm), radius=0.5mm, height=0.787mm)
  Rectangle1 = rectangle(corner=(12.3mm, 9mm, 0.787mm), x_size=5mm, y_size=9mm)
  Rectangle2 = rectangle(corner=(14.8mm, 11.5mm, 0.787mm), x_size=2.5mm, y_size=4mm)
  Rectangle1.subtract(Rectangle2)
  Patch1.subtract(Rectangle1)
  Rectangle3 = rectangle(corner=(37mm, 8mm, 0.787mm), x_size=7mm, y_size=12mm)
  Rectangle4 = rectangle(corner=(42mm, 12mm, 0.787mm), x_size=2mm, y_size=4mm)
  Rectangle3.subtract(Rectangle4)
  Patch1.subtract(Rectangle3)
  via1_1 = via1.copy()
  via10_1 = via10.copy()
  via11_1 = via11.copy()
  via12_1 = via12.copy()
  via13_1 = via13.copy()
  via14_1 = via14.copy()
  via15_1 = via15.copy()
  via16_1 = via16.copy()
  via17_1 = via17.copy()
  via18_1 = via18.copy()
  via19_1 = via19.copy()
  via2_1 = via2.copy()
  via20_1 = via20.copy()
  via21_1 = via21.copy()
  via22_1 = via22.copy()
  via23_1 = via23.copy()
  via24_1 = via24.copy()
  via25_1 = via25.copy()
  via26_1 = via26.copy()
  via27_1 = via27.copy()
  via28_1 = via28.copy()
  via29_1 = via29.copy()
  via3_1 = via3.copy()
  via30_1 = via30.copy()
  via31_1 = via31.copy()
  via32_1 = via32.copy()
  via33_1 = via33.copy()
  via34_1 = via34.copy()
  via35_1 = via35.copy()
  via36_1 = via36.copy()
  via37_1 = via37.copy()
  via38_1 = via38.copy()
  via39_1 = via39.copy()
  via4_1 = via4.copy()
  via40_1 = via40.copy()
  via41_1 = via41.copy()
  via42_1 = via42.copy()
  via43_1 = via43.copy()
  via44_1 = via44.copy()
  via45_1 = via45.copy()
  via46_1 = via46.copy()
  via47_1 = via47.copy()
  via48_1 = via48.copy()
  via49_1 = via49.copy()
  via5_1 = via5.copy()
  via50_1 = via50.copy()
  via51_1 = via51.copy()
  via52_1 = via52.copy()
  via53_1 = via53.copy()
  via54_1 = via54.copy()
  via55_1 = via55.copy()
  via56_1 = via56.copy()
  via57_1 = via57.copy()
  via58_1 = via58.copy()
  via59_1 = via59.copy()
  via6_1 = via6.copy()
  via60_1 = via60.copy()
  via61_1 = via61.copy()
  via62_1 = via62.copy()
  via63_1 = via63.copy()
  via64_1 = via64.copy()
  via65_1 = via65.copy()
  via67_1 = via67.copy()
  via68_1 = via68.copy()
  via69_1 = via69.copy()
  via7_1 = via7.copy()
  via70_1 = via70.copy()
  via71_1 = via71.copy()
  via72_1 = via72.copy()
  via73_1 = via73.copy()
  via74_1 = via74.copy()
  via75_1 = via75.copy()
  via76_1 = via76.copy()
  via77_1 = via77.copy()
  via78_1 = via78.copy()
  via79_1 = via79.copy()
  via8_1 = via8.copy()
  via80_1 = via80.copy()
  via81_1 = via81.copy()
  via82_1 = via82.copy()
  via83_1 = via83.copy()
  via84_1 = via84.copy()
  via85_1 = via85.copy()
  via86_1 = via86.copy()
  via87_1 = via87.copy()
  via88_1 = via88.copy()
  via89_1 = via89.copy()
  via9_1 = via9.copy()
  via90_1 = via90.copy()
  via91_1 = via91.copy()
  via92_1 = via92.copy()
  via93_1 = via93.copy()
  via94_1 = via94.copy()
  via95_1 = via95.copy()
  via96_1 = via96.copy()
  Gnd1.subtract(via1_1, via10_1, via11_1, via12_1, via13_1, via14_1, via15_1, via16_1, via17_1, via18_1, via19_1, via2_1, via20_1, via21_1, via22_1, via23_1, via24_1, via25_1, via26_1, via27_1, via28_1, via29_1, via3_1, via30_1, via31_1, via32_1, via33_1, via34_1, via35_1, via36_1, via37_1, via38_1, via39_1, via4_1, via40_1, via41_1, via42_1, via43_1, via44_1, via45_1, via46_1, via47_1, via48_1, via49_1, via5_1, via50_1, via51_1, via52_1, via53_1, via54_1, via55_1, via56_1, via57_1, via58_1, via59_1, via6_1, via60_1, via61_1, via62_1, via63_1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)
  via1_2 = via1.copy()
  via10_2 = via10.copy()
  via11_2 = via11.copy()
  via12_2 = via12.copy()
  via13_2 = via13.copy()
  via14_2 = via14.copy()
  via15_2 = via15.copy()
  via16_2 = via16.copy()
  via17_2 = via17.copy()
  via18_2 = via18.copy()
  via19_2 = via19.copy()
  via2_2 = via2.copy()
  via20_2 = via20.copy()
  via21_2 = via21.copy()
  via22_2 = via22.copy()
  via23_2 = via23.copy()
  via24_2 = via24.copy()
  via25_2 = via25.copy()
  via26_2 = via26.copy()
  via27_2 = via27.copy()
  via28_2 = via28.copy()
  via29_2 = via29.copy()
  via3_2 = via3.copy()
  via30_2 = via30.copy()
  via31_2 = via31.copy()
  via32_2 = via32.copy()
  via33_2 = via33.copy()
  via34_2 = via34.copy()
  via35_2 = via35.copy()
  via36_2 = via36.copy()
  via37_2 = via37.copy()
  via38_2 = via38.copy()
  via39_2 = via39.copy()
  via4_2 = via4.copy()
  via40_2 = via40.copy()
  via41_2 = via41.copy()
  via42_2 = via42.copy()
  via43_2 = via43.copy()
  via44_2 = via44.copy()
  via45_2 = via45.copy()
  via46_2 = via46.copy()
  via47_2 = via47.copy()
  via48_2 = via48.copy()
  via49_2 = via49.copy()
  via5_2 = via5.copy()
  via50_2 = via50.copy()
  via51_2 = via51.copy()
  via52_2 = via52.copy()
  via53_2 = via53.copy()
  via54_2 = via54.copy()
  via55_2 = via55.copy()
  via56_2 = via56.copy()
  via57_2 = via57.copy()
  via58_2 = via58.copy()
  via59_2 = via59.copy()
  via6_2 = via6.copy()
  via60_2 = via60.copy()
  via61_2 = via61.copy()
  via62_2 = via62.copy()
  via63_2 = via63.copy()
  via64_2 = via64.copy()
  via65_2 = via65.copy()
  via67_2 = via67.copy()
  via68_2 = via68.copy()
  via69_2 = via69.copy()
  via7_2 = via7.copy()
  via70_2 = via70.copy()
  via71_2 = via71.copy()
  via72_2 = via72.copy()
  via73_2 = via73.copy()
  via74_2 = via74.copy()
  via75_2 = via75.copy()
  via76_2 = via76.copy()
  via77_2 = via77.copy()
  via78_2 = via78.copy()
  via79_2 = via79.copy()
  via8_2 = via8.copy()
  via80_2 = via80.copy()
  via81_2 = via81.copy()
  via82_2 = via82.copy()
  via83_2 = via83.copy()
  via84_2 = via84.copy()
  via85_2 = via85.copy()
  via86_2 = via86.copy()
  via87_2 = via87.copy()
  via88_2 = via88.copy()
  via89_2 = via89.copy()
  via9_2 = via9.copy()
  via90_2 = via90.copy()
  via91_2 = via91.copy()
  via92_2 = via92.copy()
  via93_2 = via93.copy()
  via94_2 = via94.copy()
  via95_2 = via95.copy()
  via96_2 = via96.copy()
  Patch1.subtract(via1_2, via10_2, via11_2, via12_2, via13_2, via14_2, via15_2, via16_2, via17_2, via18_2, via19_2, via2_2, via20_2, via21_2, via22_2, via23_2, via24_2, via25_2, via26_2, via27_2, via28_2, via29_2, via3_2, via30_2, via31_2, via32_2, via33_2, via34_2, via35_2, via36_2, via37_2, via38_2, via39_2, via4_2, via40_2, via41_2, via42_2, via43_2, via44_2, via45_2, via46_2, via47_2, via48_2, via49_2, via5_2, via50_2, via51_2, via52_2, via53_2, via54_2, via55_2, via56_2, via57_2, via58_2, via59_2, via6_2, via60_2, via61_2, via62_2, via63_2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)
  substrate1.subtract(via1, via10..via19, via2, via20..via29, via3, via30..via39, via4, via40..via49, via5, via50..via59, via6, via60..via65, via67, via68, via69, via7, via70..via79, via8, via80..via89, via9, via90..via96)
  Box1 [vacuum] = box(corner=(0mm, 0mm, -0.5mm), size=(58mm, 26.5mm, 5mm))
  Rectangle5 = rectangle(corner=(58mm, 12mm, 0mm), x_size=-45.7mm, y_size=2.5mm)
  Rectangle6 = rectangle(corner=(58mm, 12mm, 0mm), y_size=2.5mm, z_size=5mm)
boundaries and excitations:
  Ground: Perfect E Objects=Gnd1
  Patch: Perfect E Objects=Patch1
  Rad1: Radiation Objects=Box1
  1: Lumped Port Objects=Rectangle6 Modes{Mode1{IntLine{Rectangle6.edge(z at corner) at 0.25 along -> middle of Rectangle6.edge(z opposite corner)} CharImp=Zpi RenormImp=50ohm}} FullResistance=50ohm FullReactance=0ohm
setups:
  Setup1: HfssDriven Frequency=10GHz MaxDeltaS=0.02 MaximumPasses=6 MinimumPasses=1 MinimumConvergedPasses=1 PercentRefinement=30 BasisOrder=1 PortAccuracy=2
    sweep Sweep: 1GHz to 10GHz step 0.01GHz; Type=Interpolating InterpTolerance=0.5 InterpMaxSolns=250 InterpUsePortImped=false InterpUsePropConst=false PassivityErrorTolerance=0.0001
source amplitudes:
  1:1: 1W 0deg
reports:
  XY Plot 1: dB(St(source_T1,source_T1)) vs Freq on Setup1 : Sweep
  XY Plot 2: dB(St(source_T1,source_T1)) vs Freq on Setup1 : Sweep
  XY Plot 3: dB(St(source_T1,source_T1)) vs Freq on Setup1 : Sweep
  XY Plot 4: dB(St(source_T1,source_T1)) vs Freq on Setup1 : Sweep
  XY Plot 5: dB(St(source_T1,source_T1)) vs Freq on Setup1 : Sweep
  XY Plot 6: dB(S(1,1)) vs Freq on Setup1 : Sweep
  XY Plot 7: dB(S(1,1)) vs Freq on Setup1 : Sweep
